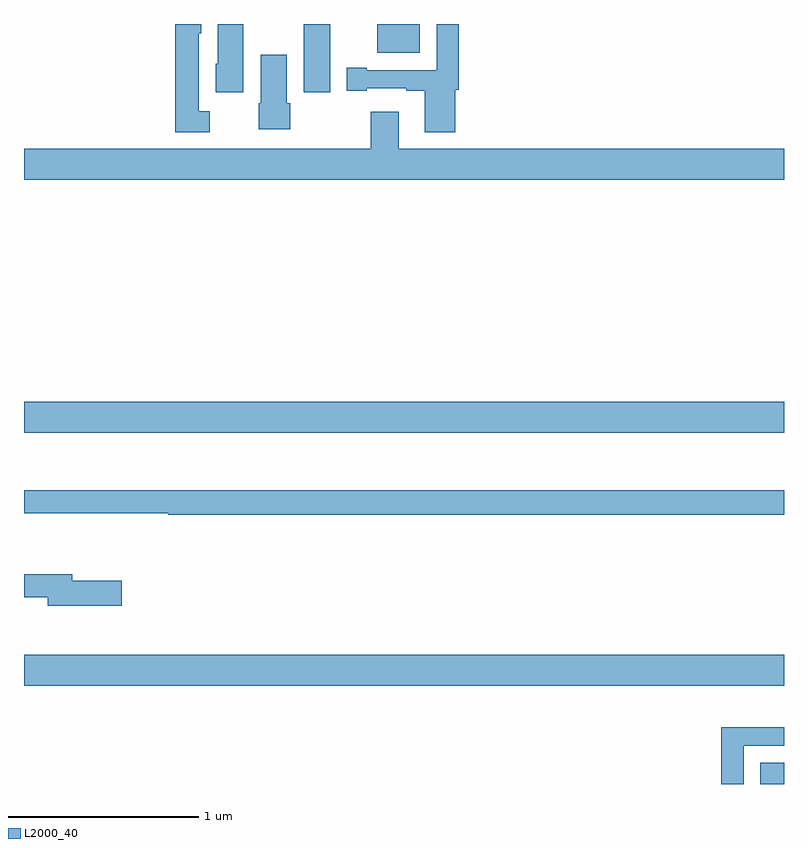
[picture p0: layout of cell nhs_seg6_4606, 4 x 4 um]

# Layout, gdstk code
import gdstk
lib = gdstk.Library(unit=1e-6, precision=1e-09)
def R(c, l, rs):  # rectangles x0, y0, x1, y1
    for r in rs: c.add(gdstk.rectangle(r[:2], r[2:], *l))
def P(c, l, *ps):  # polygons
    for p in ps: c.add(gdstk.Polygon(p, *l))
L2000_40 = (2000, 40)

nhs_seg6_4606 = lib.new_cell('nhs_seg6_4606')
R(nhs_seg6_4606, L2000_40, [(386.876,933.5,387,933.613), (383,934.016,387,934.18), (383,935.348,387,935.512), (384.473,937.14,384.613,937.5), (384.86,937.349,385.084,937.5)])
P(nhs_seg6_4606, L2000_40, [(384.154,937.5),(384.02,937.5),(384.02,937.29),(384.008,937.29),(384.008,937.14),(384.154,937.14)],
  [(383.977,937.042),(383.92,937.042),(383.92,937.452),(383.932,937.452),(383.932,937.5),(383.795,937.5),(383.795,936.929),(383.977,936.929)],
  [(385.27,937.154),(385.289,937.154),(385.289,937.5),(385.173,937.5),(385.173,937.257),(384.805,937.257),(384.805,937.27),(384.698,937.27),(384.698,937.149),(384.805,937.149),(384.805,937.161),(385.013,937.161),(385.013,937.149),(385.109,937.149),(385.109,936.93),(385.27,936.93)],
  [(384.402,937.083),(384.382,937.083),(384.382,937.339),(384.245,937.339),(384.245,937.083),(384.236,937.083),(384.236,936.947),(384.402,936.947)],
  [(387,936.844),(384.973,936.844),(384.973,937.039),(384.826,937.039),(384.826,936.844),(383,936.844),(383,936.68),(387,936.68)],
  [(387,935.047),(383,935.047),(383,934.926),(383.758,934.926),(383.758,934.918),(387,934.918)],
  [(383.515,934.569),(383.254,934.569),(383.254,934.603),(383,934.603),(383,934.482),(383.126,934.482),(383.126,934.439),(383.515,934.439)],
  [(386.787,933.702),(387,933.702),(387,933.798),(386.963,933.798),(386.963,933.8),(386.671,933.8),(386.671,933.5),(386.787,933.5)])

lib.write_gds('nhs_seg6_4606.gds')
